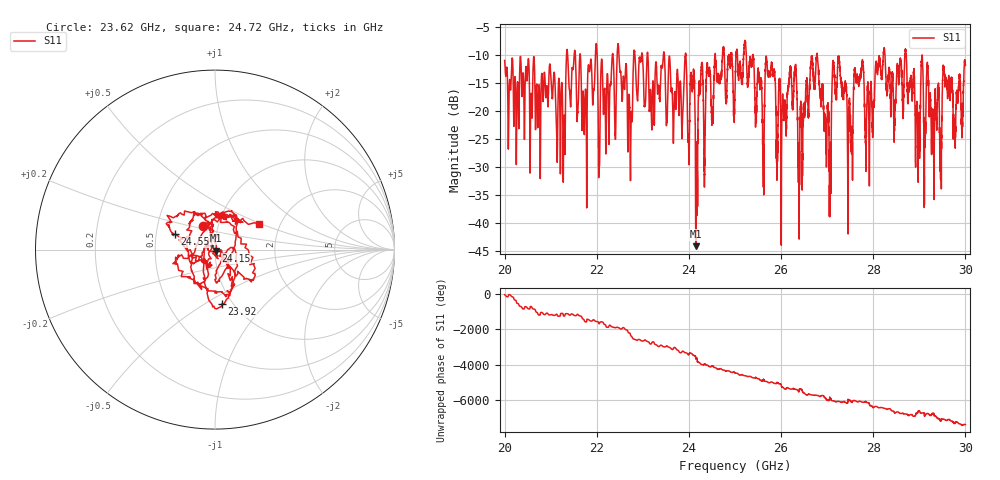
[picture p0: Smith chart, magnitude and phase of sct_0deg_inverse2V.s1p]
#  HZ  S  RI  R  50.00
! Rohde & Schwarz ZVA40 4Ports - Version 3.90 - 1145.1110k42 SN: 100403
! Date: 2023-09-28 08:07:59
! Measurement: S22
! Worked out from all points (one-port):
!   5001 points, 20 GHz to 30 GHz, reference 50 ohm
!   lowest |S11| = -44.1 dB at 24.15 GHz (marker M1), VSWR 1.01, Z = 50.4 - j0.519 ohm
!   |S11| at or under -10 dB: start of sweep to 21.34 GHz; 25.39 GHz to 26.77 GHz (1.382 GHz wide, 5.3 % of centre); 26.78 GHz to 28.22 GHz (1.437 GHz wide, 5.23 % of centre)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
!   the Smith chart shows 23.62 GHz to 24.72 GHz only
!   S11 on the Smith chart (normalised r, x): 23.62 GHz: 0.84, +0.23; 23.92 GHz: 0.89, -0.60; 24.15 GHz: 1.01, -0.01; 24.55 GHz: 0.62, +0.11; 24.72 GHz: 1.56, +0.48
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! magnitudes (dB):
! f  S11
! 20 GHz  -10.9
! 21.25 GHz  -15.9
! 21.5 GHz  -11.2
! 21.74 GHz  -19.2
! 22.5 GHz  -12.5
! 22.72 GHz  -20.2
! 22.96 GHz  -10.9
! 23.62 GHz  -16.5
! 23.75 GHz  -12.5
! 23.92 GHz  -10.3
! 24.08 GHz  -16.0
! 24.15 GHz  -44.1
! 24.26 GHz  -14.2
! 24.55 GHz  -12.3
! 24.72 GHz  -10.9
! 25 GHz  -16.4
! 26.25 GHz  -19.1
! 26.42 GHz  -19.4
! 26.79 GHz  -10.3
! 27.03 GHz  -20.0
! 27.27 GHz  -11.3
! 27.5 GHz  -21.1
! 27.74 GHz  -12.7
! 27.87 GHz  -15.4
! 28.1 GHz  -13.4
! 28.75 GHz  -17.5
! 29.29 GHz  -20.2
! 30 GHz  -11.8
